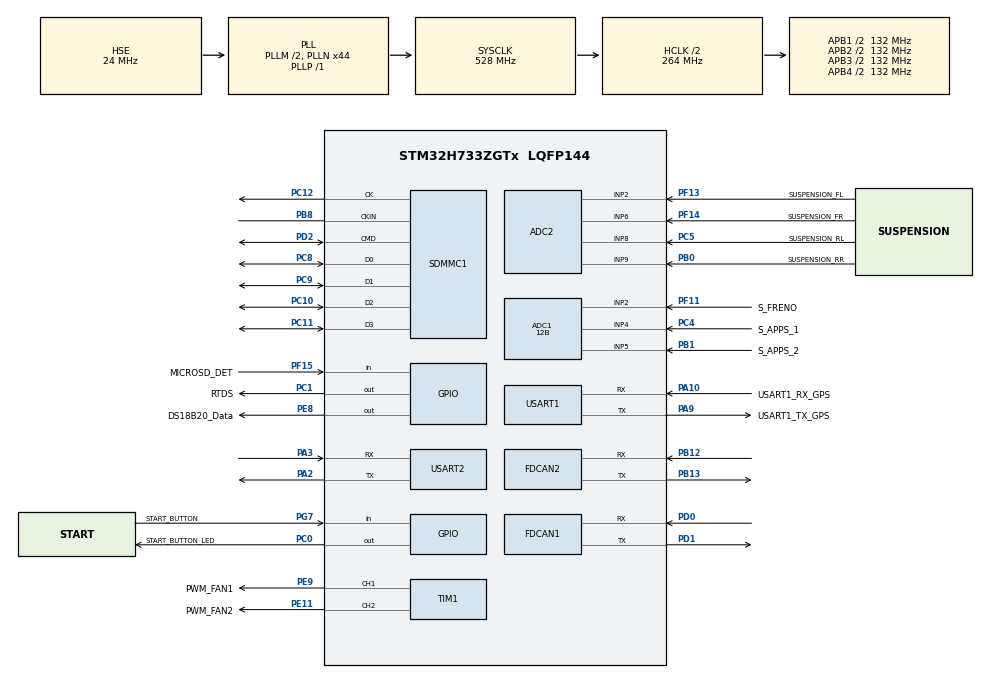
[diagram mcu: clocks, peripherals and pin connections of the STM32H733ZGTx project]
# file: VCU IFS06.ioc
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ADC1.Channel-2\#ChannelRegularConversion=ADC_CHANNEL_4
ADC1.Channel-3\#ChannelRegularConversion=ADC_CHANNEL_5
ADC1.Channel-4\#ChannelRegularConversion=ADC_CHANNEL_2
ADC1.ClockPrescaler=ADC_CLOCK_ASYNC_DIV2
ADC1.ContinuousConvMode=ENABLE
ADC1.ConversionDataManagement=ADC_CONVERSIONDATA_DMA_CIRCULAR
ADC1.EOCSelection=ADC_EOC_SEQ_CONV
ADC1.NbrOfConversion=3
ADC1.NbrOfConversionFlag=1
ADC1.OffsetNumber-3\#ChannelRegularConversion=ADC_OFFSET_NONE
ADC1.OffsetNumber-4\#ChannelRegularConversion=ADC_OFFSET_NONE
ADC1.OffsetSignedSaturation-2\#ChannelRegularConversion=DISABLE
ADC1.Rank-3\#ChannelRegularConversion=2
ADC1.Rank-4\#ChannelRegularConversion=3
ADC1.Resolution=ADC_RESOLUTION_12B
ADC1.SamplingTime-2\#ChannelRegularConversion=ADC_SAMPLETIME_64CYCLES_5
ADC1.SamplingTime-3\#ChannelRegularConversion=ADC_SAMPLETIME_64CYCLES_5
ADC1.SamplingTime-4\#ChannelRegularConversion=ADC_SAMPLETIME_64CYCLES_5
ADC1.master=1
ADC2.Channel-8\#ChannelRegularConversion=ADC_CHANNEL_9
ADC2.ClockPrescaler=ADC_CLOCK_ASYNC_DIV2
ADC2.NbrOfConversionFlag=1
ADC2.OffsetNumber-8\#ChannelRegularConversion=ADC_OFFSET_NONE
ADC2.OffsetSignedSaturation-8\#ChannelRegularConversion=DISABLE
ADC2.Rank-8\#ChannelRegularConversion=1
ADC2.SamplingTime-8\#ChannelRegularConversion=ADC_SAMPLETIME_1CYCLE_5
Dma.ADC1.0.Direction=DMA_PERIPH_TO_MEMORY
Dma.ADC1.0.EventEnable=DISABLE
Dma.ADC1.0.FIFOMode=DMA_FIFOMODE_DISABLE
Dma.ADC1.0.Instance=DMA1_Stream0
Dma.ADC1.0.MemDataAlignment=DMA_MDATAALIGN_HALFWORD
Dma.ADC1.0.MemInc=DMA_MINC_ENABLE
Dma.ADC1.0.Mode=DMA_CIRCULAR
Dma.ADC1.0.PeriphDataAlignment=DMA_PDATAALIGN_HALFWORD
Dma.ADC1.0.PeriphInc=DMA_PINC_DISABLE
Dma.ADC1.0.Polarity=HAL_DMAMUX_REQ_GEN_RISING
Dma.ADC1.0.Priority=DMA_PRIORITY_LOW
Dma.ADC1.0.RequestNumber=1
Dma.ADC1.0.SignalID=NONE
Dma.ADC1.0.SyncEnable=DISABLE
Dma.ADC1.0.SyncPolarity=HAL_DMAMUX_SYNC_NO_EVENT
Dma.ADC1.0.SyncRequestNumber=1
Dma.ADC1.0.SyncSignalID=NONE
Dma.Request0=ADC1
FATFS.BSP.number=1
FATFS.USE_DMA_CODE_SD=1
FATFS._FS_EXFAT=0
FATFS._MAX_SS=4096
FATFS._MULTI_PARTITION=1
FATFS._USE_LFN=1
FATFS0.BSP.STBoard=false
FATFS0.BSP.api=Unknown
FATFS0.BSP.instance=PF15
FATFS0.BSP.ip=GPIO
FATFS0.BSP.mode=Input
FATFS0.BSP.name=Detect_SDIO
FATFS0.BSP.solution=PF15
FDCAN1.CalculateBaudRateNominal=500000
FDCAN1.CalculateTimeBitNominal=2000
FDCAN1.CalculateTimeQuantumNominal=250.0
FDCAN1.ExtFiltersNbr=1
FDCAN1.NominalPrescaler=6
FDCAN1.NominalTimeSeg1=2
FDCAN1.NominalTimeSeg2=5
FDCAN1.RxBuffersNbr=0
FDCAN1.RxFifo0ElmtsNbr=32
FDCAN1.RxFifo1ElmtsNbr=32
FDCAN1.StdFiltersNbr=1
FDCAN1.TxBuffersNbr=0
FDCAN1.TxEventsNbr=0
FDCAN1.TxFifoQueueElmtsNbr=32
FDCAN2.CalculateBaudRateNominal=250000
FDCAN2.CalculateTimeBitNominal=4000
FDCAN2.CalculateTimeQuantumNominal=250.0
FDCAN2.ExtFiltersNbr=1
FDCAN2.FrameFormat=FDCAN_FRAME_CLASSIC
FDCAN2.NominalPrescaler=6
FDCAN2.NominalTimeSeg1=10
FDCAN2.NominalTimeSeg2=5
FDCAN2.RxBuffersNbr=0
FDCAN2.RxFifo0ElmtSize=FDCAN_DATA_BYTES_8
FDCAN2.RxFifo0ElmtsNbr=16
FDCAN2.RxFifo1ElmtsNbr=16
FDCAN2.StdFiltersNbr=1
FDCAN2.TxBuffersNbr=0
FDCAN2.TxEventsNbr=0
FDCAN2.TxFifoQueueElmtsNbr=16
Mcu.Family=STM32H7
Mcu.Name=STM32H733ZGTx
Mcu.Package=LQFP144
NVIC.ADC_IRQn=true\:0\:0\:false\:false\:true\:true\:true\:true
NVIC.DMA1_Stream0_IRQn=true\:0\:0\:false\:false\:true\:false\:true\:true
NVIC.FDCAN1_IT0_IRQn=true\:1\:0\:true\:false\:true\:true\:true\:true
NVIC.FDCAN2_IT0_IRQn=true\:2\:0\:true\:false\:true\:true\:true\:true
NVIC.PriorityGroup=NVIC_PRIORITYGROUP_4
NVIC.SDMMC1_IRQn=true\:0\:0\:false\:false\:true\:true\:true\:true
NVIC.TIM16_IRQn=true\:0\:0\:false\:false\:true\:true\:true\:true
PA10.GPIO_Label=USART1_RX_GPS
PA10.Mode=Asynchronous
PA10.Signal=USART1_RX
PA13(JTMS/SWDIO).Mode=Trace_Asynchronous_SW
PA13(JTMS/SWDIO).Signal=DEBUG_JTMS-SWDIO
PA14(JTCK/SWCLK).Mode=Trace_Asynchronous_SW
PA14(JTCK/SWCLK).Signal=DEBUG_JTCK-SWCLK
PA2.Mode=Asynchronous
PA2.Signal=USART2_TX
PA3.Mode=Asynchronous
PA3.Signal=USART2_RX
PA9.GPIO_Label=USART1_TX_GPS
PA9.Mode=Asynchronous
PA9.Signal=USART1_TX
PB0.GPIO_Label=SUSPENSION_RR
PB0.Signal=ADCx_INP9
PB1.GPIO_Label=S_APPS_2
PB1.GPIO_Mode=GPIO_MODE_ANALOG
PB1.GPIO_PuPd=GPIO_NOPULL
PB1.Signal=ADCx_INP5
PB12.Mode=FDCAN_Activate
PB12.Signal=FDCAN2_RX
PB13.Mode=FDCAN_Activate
PB13.Signal=FDCAN2_TX
PB3(JTDO/TRACESWO).Mode=Trace_Asynchronous_SW
PB3(JTDO/TRACESWO).Signal=DEBUG_JTDO-SWO
PB8.Mode=SD_4_bits_Wide_bus_auto_dir_voltage_converter
PB8.Signal=SDMMC1_CKIN
PC0.GPIO_Label=START_BUTTON_LED
PC0.Signal=GPIO_Output
PC1.GPIO_Label=RTDS
PC1.Signal=GPIO_Output
PC10.Mode=SD_4_bits_Wide_bus_auto_dir_voltage_converter
PC10.Signal=SDMMC1_D2
PC11.Mode=SD_4_bits_Wide_bus_auto_dir_voltage_converter
PC11.Signal=SDMMC1_D3
PC12.Mode=SD_4_bits_Wide_bus_auto_dir_voltage_converter
PC12.Signal=SDMMC1_CK
PC4.GPIO_Label=S_APPS_1
PC4.GPIO_Mode=GPIO_MODE_ANALOG
PC4.GPIO_PuPd=GPIO_NOPULL
PC4.Signal=ADCx_INP4
PC5.GPIO_Label=SUSPENSION_RL
PC5.Signal=ADCx_INP8
PC8.Mode=SD_4_bits_Wide_bus_auto_dir_voltage_converter
PC8.Signal=SDMMC1_D0
PC9.Mode=SD_4_bits_Wide_bus_auto_dir_voltage_converter
PC9.Signal=SDMMC1_D1
PD0.Mode=FDCAN_Activate
PD0.Signal=FDCAN1_RX
PD1.Mode=FDCAN_Activate
PD1.Signal=FDCAN1_TX
PD2.Mode=SD_4_bits_Wide_bus_auto_dir_voltage_converter
PD2.Signal=SDMMC1_CMD
PE11.GPIO_Label=PWM_FAN2
PE11.Signal=S_TIM1_CH2
PE8.GPIO_Label=DS18B20_Data
PE8.Signal=GPIO_Output
PE9.GPIO_Label=PWM_FAN1
PE9.Signal=S_TIM1_CH1
PF11.GPIO_Label=S_FRENO
PF11.GPIO_Mode=GPIO_MODE_ANALOG
PF11.GPIO_PuPd=GPIO_NOPULL
PF11.Mode=IN2-Single-Ended
PF11.Signal=ADC1_INP2
PF13.GPIO_Label=SUSPENSION_FL
PF13.Mode=IN2-Single-Ended
PF13.Signal=ADC2_INP2
PF14.GPIO_Label=SUSPENSION_FR
PF14.Mode=IN6-Single-Ended
PF14.Signal=ADC2_INP6
PF15.GPIO_Label=MICROSD_DET
PF15.Signal=GPIO_Input
PG10.Signal=FDCAN3_RX
PG7.GPIO_Label=START_BUTTON
PG7.Signal=GPIO_Input
PG9.Signal=FDCAN3_TX
PH0-OSC_IN.Mode=HSE-External-Oscillator
PH0-OSC_IN.Signal=RCC_OSC_IN
PH1-OSC_OUT.Mode=HSE-External-Oscillator
PH1-OSC_OUT.Signal=RCC_OSC_OUT
ProjectManager.HeapSize=0x200
ProjectManager.StackSize=0x400
ProjectManager.TargetToolchain=STM32CubeIDE
RCC.ADCCLockSelection=RCC_ADCCLKSOURCE_PLL2
RCC.ADCFreq_Value=96000000
RCC.APB1Freq_Value=132000000
RCC.APB2Freq_Value=132000000
RCC.APB3Freq_Value=132000000
RCC.APB4Freq_Value=132000000
RCC.CECCLockSelection=RCC_CECCLKSOURCE_LSI
RCC.CKPERSourceSelection=RCC_CLKPSOURCE_HSI
RCC.CSI_VALUE=4000000
RCC.CortexFreq_Value=528000000
RCC.Cortex_DivARG=SystemCoreClock/1000
RCC.D1PPRE=RCC_APB3_DIV2
RCC.D2PPRE1=RCC_APB1_DIV2
RCC.D2PPRE2=RCC_APB2_DIV2
RCC.D3PPRE=RCC_APB4_DIV2
RCC.DFSDMCLockSelection=RCC_DFSDM1CLKSOURCE_D2PCLK1
RCC.DIVM1=2
RCC.DIVM2=2
RCC.DIVN1=44
RCC.DIVN2=16
RCC.DIVP1=1
RCC.DIVQ1=4
RCC.DIVR2=1
RCC.EXTERNAL_CLOCK_VALUE=12288000
RCC.FDCANCLockSelection=RCC_FDCANCLKSOURCE_HSE
RCC.FMCCLockSelection=RCC_FMCCLKSOURCE_D1HCLK
RCC.HCLKFreq_Value=264000000
RCC.HPRE=RCC_HCLK_DIV2
RCC.HSE_VALUE=24000000
RCC.HSI48_VALUE=48000000
RCC.HSI_VALUE=64000000
RCC.I2C123CLockSelection=RCC_I2C1235CLKSOURCE_D2PCLK1
RCC.I2C4CLockSelection=RCC_I2C4CLKSOURCE_D3PCLK1
RCC.LPTIM1CLockSelection=RCC_LPTIM1CLKSOURCE_D2PCLK1
RCC.LPTIM2CLockSelection=RCC_LPTIM2CLKSOURCE_D3PCLK1
RCC.LPTIM345CLockSelection=RCC_LPTIM345CLKSOURCE_D3PCLK1
RCC.LPUART1CLockSelection=RCC_LPUART1CLKSOURCE_D3PCLK1
RCC.LSE_VALUE=32768
RCC.PLL2FRACN=0
RCC.PLL3FRACN=0
RCC.PLLFRACN=0
RCC.PLLSourceVirtual=RCC_PLLSOURCE_HSE
RCC.QSPICLockSelection=RCC_OSPICLKSOURCE_D1HCLK
RCC.RCC_MCO1Source=RCC_MCO1SOURCE_HSI
RCC.RCC_MCO2Source=RCC_MCO2SOURCE_SYSCLK
RCC.RNGCLockSelection=RCC_RNGCLKSOURCE_HSI48
RCC.SAI1CLockSelection=RCC_SAI1CLKSOURCE_PLL
RCC.SAI4ACLockSelection=RCC_SAI4ACLKSOURCE_PLL
RCC.SAI4BCLockSelection=RCC_SAI4BCLKSOURCE_PLL
RCC.SDMMC1CLockSelection=RCC_SDMMCCLKSOURCE_PLL2
RCC.SPDIFCLockSelection=RCC_SPDIFRXCLKSOURCE_PLL
RCC.SPI123CLockSelection=RCC_SPI123CLKSOURCE_PLL
RCC.SPI6CLockSelection=RCC_SPI6CLKSOURCE_D3PCLK1
RCC.SWPCLockSelection=RCC_SWPMI1CLKSOURCE_D2PCLK1
RCC.SYSCLKFreq_VALUE=528000000
RCC.SYSCLKSource=RCC_SYSCLKSOURCE_PLLCLK
RCC.Spi45ClockSelection=RCC_SPI45CLKSOURCE_D2PCLK1
RCC.USART16CLockSelection=RCC_USART16910CLKSOURCE_D2PCLK2
RCC.USART234578CLockSelection=RCC_USART234578CLKSOURCE_D2PCLK1
RCC.USBCLockSelection=RCC_USBCLKSOURCE_PLL
RCC.USBFreq_Value=132000000
SDMMC1.ClockDiv=2
SDMMC1.HardwareFlowControl=SDMMC_HARDWARE_FLOW_CONTROL_DISABLE
SDMMC1.TransceiverPresent=SDMMC_TRANSCEIVER_NOT_PRESENT
SH.ADCx_INP4.0=ADC1_INP4,IN4-Single-Ended
SH.ADCx_INP5.0=ADC1_INP5,IN5-Single-Ended
SH.ADCx_INP8.0=ADC1_INP8
SH.ADCx_INP8.1=ADC2_INP8,IN8-Single-Ended
SH.ADCx_INP9.0=ADC2_INP9,IN9-Single-Ended
SH.ADCx_INP9.1=ADC1_INP9
SH.S_TIM1_CH1.0=TIM1_CH1,PWM Generation1 CH1
SH.S_TIM1_CH2.0=TIM1_CH2,PWM Generation2 CH2
TIM1.AutoReloadPreload=TIM_AUTORELOAD_PRELOAD_ENABLE
TIM1.Channel-PWM\ Generation1\ CH1=TIM_CHANNEL_1
TIM1.Channel-PWM\ Generation2\ CH2=TIM_CHANNEL_2
TIM16.Period=10000 - 1
TIM16.Prescaler=528
USART1.VirtualMode-Asynchronous=VM_ASYNC
USART2.VirtualMode-Asynchronous=VM_ASYNC
VP_FATFS_VS_SDIO.Mode=SDIO
VP_MEMORYMAP_VS_MEMORYMAP.Mode=CurAppReg
VP_TIM16_VS_ClockSourceINT.Mode=Enable_Timer
VP_TIM1_VS_ClockSourceINT.Mode=Internal
board=custom

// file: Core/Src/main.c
/* USER CODE BEGIN Header */
/**
 ******************************************************************************
 * @file           : main.c
 * @brief          : Main program body
 ******************************************************************************
 * @attention
 *
 * Copyright (c) 2024 STMicroelectronics.
 * All rights reserved.
 *
 * This software is licensed under terms that can be found in the LICENSE file
 * in the root directory of this software component.
 * If no LICENSE file comes with this software, it is provided AS-IS.
 *
 ******************************************************************************
 */
/* USER CODE END Header */
#include "main.h"
#include "fatfs.h"

/* USER CODE BEGIN Includes */
#include <stdio.h>
#include <string.h>
#include <stdlib.h>
#include "VCU.h"
#include "LPF.h"
/* USER CODE END Includes */

ADC_HandleTypeDef hadc1;
ADC_HandleTypeDef hadc2;
DMA_HandleTypeDef hdma_adc1;

FDCAN_HandleTypeDef hfdcan1;
FDCAN_HandleTypeDef hfdcan2;

SD_HandleTypeDef hsd1;

TIM_HandleTypeDef htim1;
TIM_HandleTypeDef htim16;

UART_HandleTypeDef huart1;
UART_HandleTypeDef huart2;

void SystemClock_Config(void);
void PeriphCommonClock_Config(void);
static void MX_GPIO_Init(void);
static void MX_DMA_Init(void);
static void MX_ADC1_Init(void);
static void MX_ADC2_Init(void);
static void MX_FDCAN1_Init(void);
static void MX_FDCAN2_Init(void);
static void MX_TIM1_Init(void);
static void MX_USART2_UART_Init(void);
static void MX_TIM16_Init(void);
static void MX_USART1_UART_Init(void);
static void MX_SDMMC1_SD_Init(void);

/* USER CODE BEGIN 0 */

// ---------- MODOS DEBUG ----------
#define DEBUG 1
#define CALIBRATION 0

// ---------- FILTROS LECTURA PEDAL ACELERADOR --------
uint32_t lecturas_s1[N_LECTURAS] = { 0 };
uint32_t lecturas_s2[N_LECTURAS] = { 0 };
uint8_t index_s1 = 0, index_s2 = 0;

// ---------- VARIABLES DEL CAN ----------
FDCAN_TxHeaderTypeDef TxHeader_Inv;
FDCAN_RxHeaderTypeDef RxHeader_Inv;
FDCAN_TxHeaderTypeDef TxHeader_Acu;
FDCAN_RxHeaderTypeDef RxHeader_Acu;

uint8_t TxData_Inv[8];
uint8_t RxData_Inv[8];
uint8_t TxData_Acu[8];
uint8_t RxData_Acu[8];

// Datos a recibir del inversor
INT32U datos_inversor[N_DATOS_INV] = { T_MOTOR, T_IGBT, T_AIR, N_ACTUAL,
I_ACTUAL };

// Datalogger MicroSD
FATFS FatFs; //Filesystem
#define LOG_BUFFER_SIZE 512
char logBuffer1[LOG_BUFFER_SIZE];
char logBuffer2[LOG_BUFFER_SIZE];
uint16_t bufferIndex = 0;
char *activeBuffer = logBuffer1;
char *writeBuffer = NULL;
uint8_t bufferReady = 0;

// Detector de flanco botón de arranque
int start_button_act;
int start_button_ant = 0; //1

// ---------- VARIABLES DE LECTURA DE SENSORES ----------

// Inversor
int inv_dc_bus_voltage = 0; // Lectura de tensión DC bus (V)
int inv_dc_bus_power = 0; // Lectura de potencia DC bus (W)
int e_machine_rpm = 0;	//Lectura RPMs motor
int inv_t_motor;        // Lectura de motor temperature
int inv_t_igbt;         // Lectura de power stage temperature
int inv_t_air;          // Lectura de air temperature
int inv_n_actual;       // Lectura de speed actual value

// Sensores
uint16_t buffer_adc[3]; //Buffer para DMA
int s1_aceleracion = 0; // Lectura del sensor 1 del pedal de aceleración
int s2_aceleracion = 0; // Lectura del sensor 2 del pedal de aceleración
int s1_aceleracion_aux = 0;
int s2_aceleracion_aux = 0;
LPF_EMA s1_filt, s2_filt;
int s_freno; // Lectura del sensor de freno
float s_freno_aux;
int sdd_suspension; // Lectura del sensor delantero derecho de suspensión
int sdi_suspension; // Lectura del sensor delantero izquierdo de suspensión
float aux_velocidad;
float v_celda_min = 3600; // Contiene el ultimo valor de tension minima de una celda enviada por el AMS.

// ---------- VARIABLES DE CONTROL DEL INVERSOR ----------
int porcentaje_pedal_acel;
uint16_t torque_total = 0;
uint8_t byte_torque_1 = 0;
uint8_t byte_torque_2 = 0;
int torque_limitado;
uint16_t real_torque = 0;
int media_s_acel = 0;
uint8_t state = 0;
uint8_t byte0_voltage = 0;
uint8_t byte1_voltage = 0;
uint8_t byte0_power = 0;
uint8_t byte1_power = 0;
uint32_t last_time_t_11_8 = 0;

// Revisar normativa
int flag_EV_2_3 = 0;
int flag_T11_8_9 = 0;
int count_T11_8_9 = 0;

char uart_msg[100];
char TxBuffer[250];
uint8_t error = 0;

void print(char uart_buffer[]);
void printValue(int value);
void printHex(uint8_t value);

uint16_t setTorque(void);
int SMA(uint32_t *lecturas, uint8_t *index, uint32_t lectura);

uint8_t flag_react = 0;
uint8_t flag_undervoltage = 0;
uint8_t rtds_count = 0;

int acelera = 1;
int frena = 0;

void SDCard_start(void);
void logBufferToSD(void);
void addDataToLogBuffer(char *data, uint16_t length);
void processLogging(void);
void SDCard_write(char *filename, char *data);
void CAN_bus_off_check_reset(FDCAN_HandleTypeDef *hfdcan);
/* USER CODE END 0 */

int main(void)
{

  /* MCU Configuration--------------------------------------------------------*/

  /* Reset of all peripherals, Initializes the Flash interface and the Systick. */
  HAL_Init();

  /* Configure the system clock */
  SystemClock_Config();

  /* Configure the peripherals common clocks */
  PeriphCommonClock_Config();

  /* Initialize all configured peripherals */
  MX_GPIO_Init();
  MX_DMA_Init();
  MX_ADC1_Init();
  MX_ADC2_Init();
  MX_FDCAN1_Init();
  MX_FDCAN2_Init();
  MX_TIM1_Init();
  MX_USART2_UART_Init();
  MX_TIM16_Init();
  MX_USART1_UART_Init();
  MX_SDMMC1_SD_Init();
  MX_FATFS_Init();
  /* USER CODE BEGIN 2 */
	//Inicializar tarjeta microSD
	SDCard_start();
	HAL_Delay(2000);

	//HAL_ADCEx_Calibration_Start(&hadc1, ADC_CALIB_OFFSET, ADC_SINGLE_ENDED);
	if (HAL_ADC_Start_DMA(&hadc1, (uint32_t*) buffer_adc, 3) != HAL_OK) {
#if DEBUG
		print("Error al inicializar ADC_DMA");
#endif
		Error_Handler();
	}
	//Inicializacion filtro paso bajo
	LPF_EMA_Init(&s1_filt, 0.2f);
	LPF_EMA_Init(&s2_filt, 0.2f);

	//Inicialización de buses CAN
	//Inversor
	if (HAL_FDCAN_Start(&hfdcan1) != HAL_OK) {
#if DEBUG
		print("Error al inicializar CAN_INV");
#endif
		Error_Handler();
	}

	if (HAL_FDCAN_ActivateNotification(&hfdcan1, FDCAN_IT_RX_FIFO0_NEW_MESSAGE,
			0) != HAL_OK) {

#if DEBUG
		print("Error al activar NOTIFICACION CAN_INV");
#endif
		Error_Handler();

	}

    /*if(HAL_FDCAN_ActivateNotification(&hfdcan1, FDCAN_IT_BUS_OFF, 0) != HAL_OK){
#if DEBUG
		print("Error al activar NOTIFICACION BUS OFF CAN_INV");
#endif
		Error_Handler();
    }*/

	//Acumulador
	if (HAL_FDCAN_Start(&hfdcan2) != HAL_OK) {

#if DEBUG
		print("Error al inicializar CAN_ACU");

#endif
		Error_Handler();
	}

	if (HAL_FDCAN_ActivateNotification(&hfdcan2, FDCAN_IT_RX_FIFO0_NEW_MESSAGE,
			0) != HAL_OK) {

#if DEBUG
		print("Error al activar NOTIFICATION CAN_ACU");
#endif
		Error_Handler();
	}

	//---------- SECUENCIA DE ARRANQUE ----------
#if(DEBUG)
	print("Solicitar tensión inversor");
#endif
	//Espera ACK inversor (DC bus)
	while (config_inv_lectura_v == 0) {

		if (config_inv_lectura_v == 1) {

#if DEBUG
			print("CAN_INV: Lectura de DC_BUS_VOLTAGE correctamente");
#endif
		}
	}

#if !CALIBRATION

	//Estado STAND BY inversor
	while (state != 3) {

		if (state == 3) {
#if DEBUG
			print("Precarga");
#endif
		}
	}
	//PRE-CHARGE
	while (precarga_inv == 0) {

#if DEBUG
		sprintf(TxBuffer, "DC_BUS_VOLTAGE: %i V\r\n", inv_dc_bus_voltage);
		print(TxBuffer);
		//printValue((int) ((byte1_voltage << 8) | byte0_voltage));
#endif

		//Reenvío DC_BUS_VOLTAGE al AMS por CAN_ACU
		TxHeader_Acu.Identifier = ID_dc_bus_voltage;
		TxHeader_Acu.DataLength = 2;
		TxHeader_Acu.IdType = FDCAN_EXTENDED_ID;
		TxHeader_Acu.FDFormat = FDCAN_CLASSIC_CAN;
		TxHeader_Acu.TxFrameType = FDCAN_DATA_FRAME;

		/*		TxData_Acu[0] = byte0_voltage;
		 TxData_Acu[1] = byte1_voltage;*/
		TxData_Acu[0] = inv_dc_bus_voltage & 0xFF;
		TxData_Acu[1] = (inv_dc_bus_voltage >> 8) & 0xFF;
		if (HAL_FDCAN_AddMessageToTxFifoQ(&hfdcan2, &TxHeader_Acu, TxData_Acu)
				== HAL_OK) {
#if DEBUG
			print("CAN_ACU: DC_BUS_VOLTAGE enviado a AMS");
#endif
		}

		if (precarga_inv == 1) {
#if DEBUG
			print("CAN_ACU: Precarga correcta");
#endif
		}

	}

#if DEBUG
	print("state : stand by");
#endif
	//Estado READY inversor
	TxHeader_Inv.Identifier = RX_SETPOINT_1;
	TxHeader_Inv.DataLength = 3;
	TxHeader_Inv.IdType = FDCAN_STANDARD_ID;

	TxData_Inv[0] = 0x0;
	TxData_Inv[1] = 0x0;
	TxData_Inv[2] = 0x4;
	HAL_FDCAN_AddMessageToTxFifoQ(&hfdcan1, &TxHeader_Inv, TxData_Inv);

	while (state != 4) {

	}

#if DEBUG
	print("state: ready");
#endif

#endif

#if !CALIBRATION
	//Espera a que se pulse el botón de arranque mientras se pisa el freno
	while (boton_arranque == 0) {

		start_button_act = HAL_GPIO_ReadPin(START_BUTTON_GPIO_Port,
		START_BUTTON_Pin);
		if (start_button_act == 1 && start_button_ant == 0) {

#if DEBUG
			print("Botón Start + Freno:");
			printValue(s_freno);
#endif
			if (s_freno > UMBRAL_FRENO) {
				boton_arranque = 1;
#if DEBUG
				print("Coche arrancado correctamente");
#endif
			} else {
#if DEBUG
				print("Pulsar freno para arrancar");
#endif
			}
		}
	}
#endif

	// Activar READY-TO-DRIVE-SOUND (RTDS) durante 2s
#if DEBUG
	print("RTDS sonando");
#endif
#if !CALIBRATION

	HAL_GPIO_WritePin(RTDS_GPIO_Port, RTDS_Pin, GPIO_PIN_SET); //Enciende RTDS
	HAL_Delay(2000);
	HAL_GPIO_WritePin(RTDS_GPIO_Port, RTDS_Pin, GPIO_PIN_RESET); //Apaga RTDS

#endif

#if DEBUG
	print("RTDS apagado");
#endif

	// Avisar a resto de ECUs de que pueden comenzar ya a mandar datos al CAN (RTD_all)
	// Inicia telemetria y activa los ventiladores
	/*TxHeader_Acu.Identifier = ID_RTD_all;
	 TxHeader_Acu.DataLength = 1;
	 TxData_Acu[0] = 1;
	 HAL_FDCAN_AddMessageToTxFifoQ(&hfdcan2, &TxHeader_Acu, TxData_Acu);*/

	/*
	 * TIM16 -> APB2 => 264MHzw
	 * 10 ms interruption => 10ms * 264MHz = 2640000
	 * prescalado 264 (por ejemplo)
	 * timer count = 2640000 / 264 = 10000
	 */
	HAL_TIM_Base_Start_IT(&htim16);

  /* USER CODE END 2 */

  /* Infinite loop */
  /* USER CODE BEGIN WHILE */
	while (1) {

		// Envío datos telemetría
    /* USER CODE END WHILE */

	}
}

void SystemClock_Config(void)
{
  RCC_OscInitTypeDef RCC_OscInitStruct = {0};
  RCC_ClkInitTypeDef RCC_ClkInitStruct = {0};

  /** Supply configuration update enable
  */
  HAL_PWREx_ConfigSupply(PWR_LDO_SUPPLY);

  /** Configure the main internal regulator output voltage
  */
  __HAL_PWR_VOLTAGESCALING_CONFIG(PWR_REGULATOR_VOLTAGE_SCALE0);

  while(!__HAL_PWR_GET_FLAG(PWR_FLAG_VOSRDY)) {}

  /** Initializes the RCC Oscillators according to the specified parameters
  * in the RCC_OscInitTypeDef structure.
  */
  RCC_OscInitStruct.OscillatorType = RCC_OSCILLATORTYPE_HSE;
  RCC_OscInitStruct.HSEState = RCC_HSE_ON;
  RCC_OscInitStruct.PLL.PLLState = RCC_PLL_ON;
  RCC_OscInitStruct.PLL.PLLSource = RCC_PLLSOURCE_HSE;
  RCC_OscInitStruct.PLL.PLLM = 2;
  RCC_OscInitStruct.PLL.PLLN = 44;
  RCC_OscInitStruct.PLL.PLLP = 1;
  RCC_OscInitStruct.PLL.PLLQ = 4;
  RCC_OscInitStruct.PLL.PLLR = 2;
  RCC_OscInitStruct.PLL.PLLRGE = RCC_PLL1VCIRANGE_3;
  RCC_OscInitStruct.PLL.PLLVCOSEL = RCC_PLL1VCOWIDE;
  RCC_OscInitStruct.PLL.PLLFRACN = 0;
  if (HAL_RCC_OscConfig(&RCC_OscInitStruct) != HAL_OK)
  {
    Error_Handler();
  }

  /** Initializes the CPU, AHB and APB buses clocks
  */
  RCC_ClkInitStruct.ClockType = RCC_CLOCKTYPE_HCLK|RCC_CLOCKTYPE_SYSCLK
                              |RCC_CLOCKTYPE_PCLK1|RCC_CLOCKTYPE_PCLK2
                              |RCC_CLOCKTYPE_D3PCLK1|RCC_CLOCKTYPE_D1PCLK1;
  RCC_ClkInitStruct.SYSCLKSource = RCC_SYSCLKSOURCE_PLLCLK;
  RCC_ClkInitStruct.SYSCLKDivider = RCC_SYSCLK_DIV1;
  RCC_ClkInitStruct.AHBCLKDivider = RCC_HCLK_DIV2;
  RCC_ClkInitStruct.APB3CLKDivider = RCC_APB3_DIV2;
  RCC_ClkInitStruct.APB1CLKDivider = RCC_APB1_DIV2;
  RCC_ClkInitStruct.APB2CLKDivider = RCC_APB2_DIV2;
  RCC_ClkInitStruct.APB4CLKDivider = RCC_APB4_DIV2;

  if (HAL_RCC_ClockConfig(&RCC_ClkInitStruct, FLASH_LATENCY_3) != HAL_OK)
  {
    Error_Handler();
  }
}

void PeriphCommonClock_Config(void)
{
  RCC_PeriphCLKInitTypeDef PeriphClkInitStruct = {0};

  /** Initializes the peripherals clock
  */
  PeriphClkInitStruct.PeriphClockSelection = RCC_PERIPHCLK_ADC|RCC_PERIPHCLK_SDMMC;
  PeriphClkInitStruct.PLL2.PLL2M = 2;
  PeriphClkInitStruct.PLL2.PLL2N = 16;
  PeriphClkInitStruct.PLL2.PLL2P = 2;
  PeriphClkInitStruct.PLL2.PLL2Q = 2;
  PeriphClkInitStruct.PLL2.PLL2R = 1;
  PeriphClkInitStruct.PLL2.PLL2RGE = RCC_PLL2VCIRANGE_3;
  PeriphClkInitStruct.PLL2.PLL2VCOSEL = RCC_PLL2VCOWIDE;
  PeriphClkInitStruct.PLL2.PLL2FRACN = 0;
  PeriphClkInitStruct.SdmmcClockSelection = RCC_SDMMCCLKSOURCE_PLL2;
  PeriphClkInitStruct.AdcClockSelection = RCC_ADCCLKSOURCE_PLL2;
  if (HAL_RCCEx_PeriphCLKConfig(&PeriphClkInitStruct) != HAL_OK)
  {
    Error_Handler();
  }
}

static void MX_ADC1_Init(void)
{

  ADC_MultiModeTypeDef multimode = {0};
  ADC_ChannelConfTypeDef sConfig = {0};

  /** Common config
  */
  hadc1.Instance = ADC1;
  hadc1.Init.ClockPrescaler = ADC_CLOCK_ASYNC_DIV2;
  hadc1.Init.Resolution = ADC_RESOLUTION_12B;
  hadc1.Init.ScanConvMode = ADC_SCAN_ENABLE;
  hadc1.Init.EOCSelection = ADC_EOC_SEQ_CONV;
  hadc1.Init.LowPowerAutoWait = DISABLE;
  hadc1.Init.ContinuousConvMode = ENABLE;
  hadc1.Init.NbrOfConversion = 3;
  hadc1.Init.DiscontinuousConvMode = DISABLE;
  hadc1.Init.ExternalTrigConv = ADC_SOFTWARE_START;
  hadc1.Init.ExternalTrigConvEdge = ADC_EXTERNALTRIGCONVEDGE_NONE;
  hadc1.Init.ConversionDataManagement = ADC_CONVERSIONDATA_DMA_CIRCULAR;
  hadc1.Init.Overrun = ADC_OVR_DATA_PRESERVED;
  hadc1.Init.LeftBitShift = ADC_LEFTBITSHIFT_NONE;
  hadc1.Init.OversamplingMode = DISABLE;
  hadc1.Init.Oversampling.Ratio = 1;
  if (HAL_ADC_Init(&hadc1) != HAL_OK)
  {
    Error_Handler();
  }

  /** Configure the ADC multi-mode
  */
  multimode.Mode = ADC_MODE_INDEPENDENT;
  if (HAL_ADCEx_MultiModeConfigChannel(&hadc1, &multimode) != HAL_OK)
  {
    Error_Handler();
  }

  /** Configure Regular Channel
  */
  sConfig.Channel = ADC_CHANNEL_4;
  sConfig.Rank = ADC_REGULAR_RANK_1;
  sConfig.SamplingTime = ADC_SAMPLETIME_64CYCLES_5;
  sConfig.SingleDiff = ADC_SINGLE_ENDED;
  sConfig.OffsetNumber = ADC_OFFSET_NONE;
  sConfig.Offset = 0;
  sConfig.OffsetSignedSaturation = DISABLE;
  if (HAL_ADC_ConfigChannel(&hadc1, &sConfig) != HAL_OK)
  {
    Error_Handler();
  }

  /** Configure Regular Channel
  */
  sConfig.Channel = ADC_CHANNEL_5;
  sConfig.Rank = ADC_REGULAR_RANK_2;
  if (HAL_ADC_ConfigChannel(&hadc1, &sConfig) != HAL_OK)
  {
    Error_Handler();
  }

  /** Configure Regular Channel
  */
  sConfig.Channel = ADC_CHANNEL_2;
  sConfig.Rank = ADC_REGULAR_RANK_3;
  if (HAL_ADC_ConfigChannel(&hadc1, &sConfig) != HAL_OK)
  {
    Error_Handler();
  }

}

static void MX_ADC2_Init(void)
{

  ADC_ChannelConfTypeDef sConfig = {0};

  /** Common config
  */
  hadc2.Instance = ADC2;
  hadc2.Init.ClockPrescaler = ADC_CLOCK_ASYNC_DIV2;
  hadc2.Init.Resolution = ADC_RESOLUTION_16B;
  hadc2.Init.ScanConvMode = ADC_SCAN_DISABLE;
  hadc2.Init.EOCSelection = ADC_EOC_SINGLE_CONV;
  hadc2.Init.LowPowerAutoWait = DISABLE;
  hadc2.Init.ContinuousConvMode = DISABLE;
  hadc2.Init.NbrOfConversion = 1;
  hadc2.Init.DiscontinuousConvMode = DISABLE;
  hadc2.Init.ExternalTrigConv = ADC_SOFTWARE_START;
  hadc2.Init.ExternalTrigConvEdge = ADC_EXTERNALTRIGCONVEDGE_NONE;
  hadc2.Init.ConversionDataManagement = ADC_CONVERSIONDATA_DR;
  hadc2.Init.Overrun = ADC_OVR_DATA_PRESERVED;
  hadc2.Init.LeftBitShift = ADC_LEFTBITSHIFT_NONE;
  hadc2.Init.OversamplingMode = DISABLE;
  hadc2.Init.Oversampling.Ratio = 1;
  if (HAL_ADC_Init(&hadc2) != HAL_OK)
  {
    Error_Handler();
  }

  /** Configure Regular Channel
  */
  sConfig.Channel = ADC_CHANNEL_9;
  sConfig.Rank = ADC_REGULAR_RANK_1;
  sConfig.SamplingTime = ADC_SAMPLETIME_1CYCLE_5;
  sConfig.SingleDiff = ADC_SINGLE_ENDED;
  sConfig.OffsetNumber = ADC_OFFSET_NONE;
  sConfig.Offset = 0;
  sConfig.OffsetSignedSaturation = DISABLE;
  if (HAL_ADC_ConfigChannel(&hadc2, &sConfig) != HAL_OK)
  {
    Error_Handler();
  }

}

static void MX_FDCAN1_Init(void)
{

  hfdcan1.Instance = FDCAN1;
  hfdcan1.Init.FrameFormat = FDCAN_FRAME_CLASSIC;
  hfdcan1.Init.Mode = FDCAN_MODE_NORMAL;
  hfdcan1.Init.AutoRetransmission = ENABLE;
  hfdcan1.Init.TransmitPause = DISABLE;
  hfdcan1.Init.ProtocolException = DISABLE;
  hfdcan1.Init.NominalPrescaler = 6;
  hfdcan1.Init.NominalSyncJumpWidth = 1;
  hfdcan1.Init.NominalTimeSeg1 = 2;
  hfdcan1.Init.NominalTimeSeg2 = 5;
  hfdcan1.Init.DataPrescaler = 1;
  hfdcan1.Init.DataSyncJumpWidth = 1;
  hfdcan1.Init.DataTimeSeg1 = 1;
  hfdcan1.Init.DataTimeSeg2 = 1;
  hfdcan1.Init.MessageRAMOffset = 0;
  hfdcan1.Init.StdFiltersNbr = 1;
  hfdcan1.Init.ExtFiltersNbr = 1;
  hfdcan1.Init.RxFifo0ElmtsNbr = 32;
  hfdcan1.Init.RxFifo0ElmtSize = FDCAN_DATA_BYTES_8;
  hfdcan1.Init.RxFifo1ElmtsNbr = 32;
  hfdcan1.Init.RxFifo1ElmtSize = FDCAN_DATA_BYTES_8;
  hfdcan1.Init.RxBuffersNbr = 0;
  hfdcan1.Init.RxBufferSize = FDCAN_DATA_BYTES_8;
  hfdcan1.Init.TxEventsNbr = 0;
  hfdcan1.Init.TxBuffersNbr = 0;
  hfdcan1.Init.TxFifoQueueElmtsNbr = 32;
  hfdcan1.Init.TxFifoQueueMode = FDCAN_TX_FIFO_OPERATION;
  hfdcan1.Init.TxElmtSize = FDCAN_DATA_BYTES_8;
  if (HAL_FDCAN_Init(&hfdcan1) != HAL_OK)
  {
    Error_Handler();
  }
  /* USER CODE BEGIN FDCAN1_Init 2 */
	FDCAN_FilterTypeDef sFilterConfig;
	sFilterConfig.IdType = FDCAN_STANDARD_ID;
	sFilterConfig.FilterIndex = 0;
	sFilterConfig.FilterType = FDCAN_FILTER_MASK;
	sFilterConfig.FilterConfig = FDCAN_FILTER_TO_RXFIFO0;
	sFilterConfig.FilterID1 = 0x0;
	sFilterConfig.FilterID2 = 0x0;
	if (HAL_FDCAN_ConfigFilter(&hfdcan1, &sFilterConfig) != HAL_OK) {
		Error_Handler();
	}
  /* USER CODE END FDCAN1_Init 2 */

}

static void MX_FDCAN2_Init(void)
{

  hfdcan2.Instance = FDCAN2;
  hfdcan2.Init.FrameFormat = FDCAN_FRAME_CLASSIC;
  hfdcan2.Init.Mode = FDCAN_MODE_NORMAL;
  hfdcan2.Init.AutoRetransmission = DISABLE;
  hfdcan2.Init.TransmitPause = DISABLE;
  hfdcan2.Init.ProtocolException = DISABLE;
  hfdcan2.Init.NominalPrescaler = 6;
  hfdcan2.Init.NominalSyncJumpWidth = 1;
  hfdcan2.Init.NominalTimeSeg1 = 10;
  hfdcan2.Init.NominalTimeSeg2 = 5;
  hfdcan2.Init.DataPrescaler = 1;
  hfdcan2.Init.DataSyncJumpWidth = 1;
  hfdcan2.Init.DataTimeSeg1 = 1;
  hfdcan2.Init.DataTimeSeg2 = 1;
  hfdcan2.Init.MessageRAMOffset = 0;
  hfdcan2.Init.StdFiltersNbr = 1;
  hfdcan2.Init.ExtFiltersNbr = 1;
  hfdcan2.Init.RxFifo0ElmtsNbr = 16;
  hfdcan2.Init.RxFifo0ElmtSize = FDCAN_DATA_BYTES_8;
  hfdcan2.Init.RxFifo1ElmtsNbr = 16;
  hfdcan2.Init.RxFifo1ElmtSize = FDCAN_DATA_BYTES_8;
  hfdcan2.Init.RxBuffersNbr = 0;
  hfdcan2.Init.RxBufferSize = FDCAN_DATA_BYTES_8;
  hfdcan2.Init.TxEventsNbr = 0;
  hfdcan2.Init.TxBuffersNbr = 0;
  hfdcan2.Init.TxFifoQueueElmtsNbr = 16;
  hfdcan2.Init.TxFifoQueueMode = FDCAN_TX_FIFO_OPERATION;
  hfdcan2.Init.TxElmtSize = FDCAN_DATA_BYTES_8;
  if (HAL_FDCAN_Init(&hfdcan2) != HAL_OK)
  {
    Error_Handler();
  }
  /* USER CODE BEGIN FDCAN2_Init 2 */
	FDCAN_FilterTypeDef sFilterConfig;
	sFilterConfig.IdType = FDCAN_EXTENDED_ID;
	sFilterConfig.FilterIndex = 0;
	sFilterConfig.FilterType = FDCAN_FILTER_MASK;
	sFilterConfig.FilterConfig = FDCAN_FILTER_TO_RXFIFO0;
	sFilterConfig.FilterID1 = 0x0;
	sFilterConfig.FilterID2 = 0x0;
	if (HAL_FDCAN_ConfigFilter(&hfdcan2, &sFilterConfig) != HAL_OK) {
		Error_Handler();
	}
  /* USER CODE END FDCAN2_Init 2 */

}

static void MX_SDMMC1_SD_Init(void)
{

  hsd1.Instance = SDMMC1;
  hsd1.Init.ClockEdge = SDMMC_CLOCK_EDGE_RISING;
  hsd1.Init.ClockPowerSave = SDMMC_CLOCK_POWER_SAVE_DISABLE;
  hsd1.Init.BusWide = SDMMC_BUS_WIDE_4B;
  hsd1.Init.HardwareFlowControl = SDMMC_HARDWARE_FLOW_CONTROL_DISABLE;
  hsd1.Init.ClockDiv = 2;

}

static void MX_TIM1_Init(void)
{

  TIM_ClockConfigTypeDef sClockSourceConfig = {0};
  TIM_MasterConfigTypeDef sMasterConfig = {0};
  TIM_OC_InitTypeDef sConfigOC = {0};
  TIM_BreakDeadTimeConfigTypeDef sBreakDeadTimeConfig = {0};

  htim1.Instance = TIM1;
  htim1.Init.Prescaler = 0;
  htim1.Init.CounterMode = TIM_COUNTERMODE_UP;
  htim1.Init.Period = 65535;
  htim1.Init.ClockDivision = TIM_CLOCKDIVISION_DIV1;
  htim1.Init.RepetitionCounter = 0;
  htim1.Init.AutoReloadPreload = TIM_AUTORELOAD_PRELOAD_ENABLE;
  if (HAL_TIM_Base_Init(&htim1) != HAL_OK)
  {
    Error_Handler();
  }
  sClockSourceConfig.ClockSource = TIM_CLOCKSOURCE_INTERNAL;
  if (HAL_TIM_ConfigClockSource(&htim1, &sClockSourceConfig) != HAL_OK)
  {
    Error_Handler();
  }
  if (HAL_TIM_PWM_Init(&htim1) != HAL_OK)
  {
    Error_Handler();
  }
  sMasterConfig.MasterOutputTrigger = TIM_TRGO_RESET;
  sMasterConfig.MasterOutputTrigger2 = TIM_TRGO2_RESET;
  sMasterConfig.MasterSlaveMode = TIM_MASTERSLAVEMODE_DISABLE;
  if (HAL_TIMEx_MasterConfigSynchronization(&htim1, &sMasterConfig) != HAL_OK)
  {
    Error_Handler();
  }
  sConfigOC.OCMode = TIM_OCMODE_PWM1;
  sConfigOC.Pulse = 0;
  sConfigOC.OCPolarity = TIM_OCPOLARITY_HIGH;
  sConfigOC.OCNPolarity = TIM_OCNPOLARITY_HIGH;
  sConfigOC.OCFastMode = TIM_OCFAST_DISABLE;
  sConfigOC.OCIdleState = TIM_OCIDLESTATE_RESET;
  sConfigOC.OCNIdleState = TIM_OCNIDLESTATE_RESET;
  if (HAL_TIM_PWM_ConfigChannel(&htim1, &sConfigOC, TIM_CHANNEL_1) != HAL_OK)
  {
    Error_Handler();
  }
  if (HAL_TIM_PWM_ConfigChannel(&htim1, &sConfigOC, TIM_CHANNEL_2) != HAL_OK)
  {
    Error_Handler();
  }
  sBreakDeadTimeConfig.OffStateRunMode = TIM_OSSR_DISABLE;
  sBreakDeadTimeConfig.OffStateIDLEMode = TIM_OSSI_DISABLE;
  sBreakDeadTimeConfig.LockLevel = TIM_LOCKLEVEL_OFF;
  sBreakDeadTimeConfig.DeadTime = 0;
  sBreakDeadTimeConfig.BreakState = TIM_BREAK_DISABLE;
  sBreakDeadTimeConfig.BreakPolarity = TIM_BREAKPOLARITY_HIGH;
  sBreakDeadTimeConfig.BreakFilter = 0;
  sBreakDeadTimeConfig.Break2State = TIM_BREAK2_DISABLE;
  sBreakDeadTimeConfig.Break2Polarity = TIM_BREAK2POLARITY_HIGH;
  sBreakDeadTimeConfig.Break2Filter = 0;
  sBreakDeadTimeConfig.AutomaticOutput = TIM_AUTOMATICOUTPUT_DISABLE;
  if (HAL_TIMEx_ConfigBreakDeadTime(&htim1, &sBreakDeadTimeConfig) != HAL_OK)
  {
    Error_Handler();
  }
  HAL_TIM_MspPostInit(&htim1);

}

static void MX_TIM16_Init(void)
{

  htim16.Instance = TIM16;
  htim16.Init.Prescaler = 528;
  htim16.Init.CounterMode = TIM_COUNTERMODE_UP;
  htim16.Init.Period = 10000 - 1;
  htim16.Init.ClockDivision = TIM_CLOCKDIVISION_DIV1;
  htim16.Init.RepetitionCounter = 0;
  htim16.Init.AutoReloadPreload = TIM_AUTORELOAD_PRELOAD_DISABLE;
  if (HAL_TIM_Base_Init(&htim16) != HAL_OK)
  {
    Error_Handler();
  }

}

static void MX_USART1_UART_Init(void)
{

  huart1.Instance = USART1;
  huart1.Init.BaudRate = 115200;
  huart1.Init.WordLength = UART_WORDLENGTH_8B;
  huart1.Init.StopBits = UART_STOPBITS_1;
  huart1.Init.Parity = UART_PARITY_NONE;
  huart1.Init.Mode = UART_MODE_TX_RX;
  huart1.Init.HwFlowCtl = UART_HWCONTROL_NONE;
  huart1.Init.OverSampling = UART_OVERSAMPLING_16;
  huart1.Init.OneBitSampling = UART_ONE_BIT_SAMPLE_DISABLE;
  huart1.Init.ClockPrescaler = UART_PRESCALER_DIV1;
  huart1.AdvancedInit.AdvFeatureInit = UART_ADVFEATURE_NO_INIT;
  if (HAL_UART_Init(&huart1) != HAL_OK)
  {
    Error_Handler();
  }
  if (HAL_UARTEx_SetTxFifoThreshold(&huart1, UART_TXFIFO_THRESHOLD_1_8) != HAL_OK)
  {
    Error_Handler();
  }
  if (HAL_UARTEx_SetRxFifoThreshold(&huart1, UART_RXFIFO_THRESHOLD_1_8) != HAL_OK)
  {
    Error_Handler();
  }
  if (HAL_UARTEx_DisableFifoMode(&huart1) != HAL_OK)
  {
    Error_Handler();
  }

}

static void MX_USART2_UART_Init(void)
{

  huart2.Instance = USART2;
  huart2.Init.BaudRate = 115200;
  huart2.Init.WordLength = UART_WORDLENGTH_8B;
  huart2.Init.StopBits = UART_STOPBITS_1;
  huart2.Init.Parity = UART_PARITY_NONE;
  huart2.Init.Mode = UART_MODE_TX_RX;
  huart2.Init.HwFlowCtl = UART_HWCONTROL_NONE;
  huart2.Init.OverSampling = UART_OVERSAMPLING_16;
  huart2.Init.OneBitSampling = UART_ONE_BIT_SAMPLE_DISABLE;
  huart2.Init.ClockPrescaler = UART_PRESCALER_DIV1;
  huart2.AdvancedInit.AdvFeatureInit = UART_ADVFEATURE_NO_INIT;
  if (HAL_UART_Init(&huart2) != HAL_OK)
  {
    Error_Handler();
  }
  if (HAL_UARTEx_SetTxFifoThreshold(&huart2, UART_TXFIFO_THRESHOLD_1_8) != HAL_OK)
  {
    Error_Handler();
  }
  if (HAL_UARTEx_SetRxFifoThreshold(&huart2, UART_RXFIFO_THRESHOLD_1_8) != HAL_OK)
  {
    Error_Handler();
  }
  if (HAL_UARTEx_DisableFifoMode(&huart2) != HAL_OK)
  {
    Error_Handler();
  }

}

static void MX_DMA_Init(void)
{

  /* DMA controller clock enable */
  __HAL_RCC_DMA1_CLK_ENABLE();

  /* DMA interrupt init */
  /* DMA1_Stream0_IRQn interrupt configuration */
  HAL_NVIC_SetPriority(DMA1_Stream0_IRQn, 0, 0);
  HAL_NVIC_EnableIRQ(DMA1_Stream0_IRQn);

}

static void MX_GPIO_Init(void)
{
  GPIO_InitTypeDef GPIO_InitStruct = {0};

  /* GPIO Ports Clock Enable */
  __HAL_RCC_GPIOH_CLK_ENABLE();
  __HAL_RCC_GPIOC_CLK_ENABLE();
  __HAL_RCC_GPIOA_CLK_ENABLE();
  __HAL_RCC_GPIOB_CLK_ENABLE();
  __HAL_RCC_GPIOF_CLK_ENABLE();
  __HAL_RCC_GPIOE_CLK_ENABLE();
  __HAL_RCC_GPIOG_CLK_ENABLE();
  __HAL_RCC_GPIOD_CLK_ENABLE();

  /*Configure GPIO pin Output Level */
  HAL_GPIO_WritePin(GPIOC, START_BUTTON_LED_Pin|RTDS_Pin, GPIO_PIN_RESET);

  /*Configure GPIO pin Output Level */
  HAL_GPIO_WritePin(DS18B20_Data_GPIO_Port, DS18B20_Data_Pin, GPIO_PIN_RESET);

  /*Configure GPIO pins : START_BUTTON_LED_Pin RTDS_Pin */
  GPIO_InitStruct.Pin = START_BUTTON_LED_Pin|RTDS_Pin;
  GPIO_InitStruct.Mode = GPIO_MODE_OUTPUT_PP;
  GPIO_InitStruct.Pull = GPIO_NOPULL;
  GPIO_InitStruct.Speed = GPIO_SPEED_FREQ_LOW;
  HAL_GPIO_Init(GPIOC, &GPIO_InitStruct);

  /*Configure GPIO pin : MICROSD_DET_Pin */
  GPIO_InitStruct.Pin = MICROSD_DET_Pin;
  GPIO_InitStruct.Mode = GPIO_MODE_INPUT;
  GPIO_InitStruct.Pull = GPIO_NOPULL;
  HAL_GPIO_Init(MICROSD_DET_GPIO_Port, &GPIO_InitStruct);

  /*Configure GPIO pin : DS18B20_Data_Pin */
  GPIO_InitStruct.Pin = DS18B20_Data_Pin;
  GPIO_InitStruct.Mode = GPIO_MODE_OUTPUT_PP;
  GPIO_InitStruct.Pull = GPIO_NOPULL;
  GPIO_InitStruct.Speed = GPIO_SPEED_FREQ_LOW;
  HAL_GPIO_Init(DS18B20_Data_GPIO_Port, &GPIO_InitStruct);

  /*Configure GPIO pin : START_BUTTON_Pin */
  GPIO_InitStruct.Pin = START_BUTTON_Pin;
  GPIO_InitStruct.Mode = GPIO_MODE_INPUT;
  GPIO_InitStruct.Pull = GPIO_NOPULL;
  HAL_GPIO_Init(START_BUTTON_GPIO_Port, &GPIO_InitStruct);

  /*Configure GPIO pins : PG9 PG10 */
  GPIO_InitStruct.Pin = GPIO_PIN_9|GPIO_PIN_10;
  GPIO_InitStruct.Mode = GPIO_MODE_AF_PP;
  GPIO_InitStruct.Pull = GPIO_NOPULL;
  GPIO_InitStruct.Speed = GPIO_SPEED_FREQ_LOW;
  GPIO_InitStruct.Alternate = GPIO_AF2_FDCAN3;
  HAL_GPIO_Init(GPIOG, &GPIO_InitStruct);

}

/* USER CODE BEGIN 4 */
void print(char uart_buffer[]) {
	sprintf(uart_msg, "%s \n\r", uart_buffer);
	HAL_UART_Transmit(&huart2, (uint8_t*) uart_msg, strlen(uart_msg),
	HAL_MAX_DELAY);

}

void printValue(int value) {
	sprintf(uart_msg, "%hu \n\r", value);
	HAL_UART_Transmit(&huart2, (uint8_t*) uart_msg, strlen(uart_msg),
	HAL_MAX_DELAY);

}

void printHex(uint8_t value) {
	sprintf(uart_msg, "0x%02X \n\r", value);
	HAL_UART_Transmit(&huart2, (uint8_t*) uart_msg, strlen(uart_msg),
	HAL_MAX_DELAY);
}

void HAL_ADC_ConvCpltCallback(ADC_HandleTypeDef *hadc) {
	s1_aceleracion = buffer_adc[0];
	s2_aceleracion = buffer_adc[1];
	s_freno = buffer_adc[2];
}

void ADC2_Select_FR(void) {
	ADC_ChannelConfTypeDef sConfig = { 0 };
	sConfig.Channel = ADC_CHANNEL_2;
	sConfig.Rank = ADC_REGULAR_RANK_1;
	sConfig.SamplingTime = ADC_SAMPLETIME_2CYCLES_5;
	sConfig.SingleDiff = ADC_SINGLE_ENDED;
	sConfig.OffsetNumber = ADC_OFFSET_NONE;
	sConfig.Offset = 0;
	if (HAL_ADC_ConfigChannel(&hadc2, &sConfig) != HAL_OK) {
		Error_Handler();
	}
}

void ADC2_Select_FL(void) {
	ADC_ChannelConfTypeDef sConfig = { 0 };
	sConfig.Channel = ADC_CHANNEL_6;
	sConfig.Rank = ADC_REGULAR_RANK_1;
	sConfig.SamplingTime = ADC_SAMPLETIME_2CYCLES_5;
	sConfig.SingleDiff = ADC_SINGLE_ENDED;
	sConfig.OffsetNumber = ADC_OFFSET_NONE;
	sConfig.Offset = 0;
	if (HAL_ADC_ConfigChannel(&hadc2, &sConfig) != HAL_OK) {
		Error_Handler();
	}
}

void ADC2_Select_RL(void) {
	ADC_ChannelConfTypeDef sConfig = { 0 };
	sConfig.Channel = ADC_CHANNEL_8;
	sConfig.Rank = ADC_REGULAR_RANK_1;
	sConfig.SamplingTime = ADC_SAMPLETIME_2CYCLES_5;
	sConfig.SingleDiff = ADC_SINGLE_ENDED;
	sConfig.OffsetNumber = ADC_OFFSET_NONE;
	sConfig.Offset = 0;
	if (HAL_ADC_ConfigChannel(&hadc2, &sConfig) != HAL_OK) {
		Error_Handler();
	}
}

void ADC2_Select_RR(void) {
	ADC_ChannelConfTypeDef sConfig = { 0 };
	sConfig.Channel = ADC_CHANNEL_9;
	sConfig.Rank = ADC_REGULAR_RANK_1;
	sConfig.SamplingTime = ADC_SAMPLETIME_2CYCLES_5;
	sConfig.SingleDiff = ADC_SINGLE_ENDED;
	sConfig.OffsetNumber = ADC_OFFSET_NONE;
	sConfig.Offset = 0;
	if (HAL_ADC_ConfigChannel(&hadc2, &sConfig) != HAL_OK) {
		Error_Handler();
	}
}

void HAL_FDCAN_RxFifo0Callback(FDCAN_HandleTypeDef *hfdcan, uint32_t RxFifo0ITs) {
	if ((RxFifo0ITs & FDCAN_IT_RX_FIFO0_NEW_MESSAGE) != RESET) {
		/* Retreive Rx messages from RX FIFO0 */
		if (hfdcan->Instance == FDCAN1) {
			if (HAL_FDCAN_GetRxMessage(&hfdcan1, FDCAN_RX_FIFO0, &RxHeader_Inv,
					RxData_Inv) == HAL_OK) {
				switch (RxHeader_Inv.Identifier) {
				case TX_STATE_3:
					state = RxData_Inv[2] >> 0x1;
					if (state == 10) {
						error = RxData_Inv[0];
					}
					break;

				case TX_STATE_4:
					e_machine_rpm = (RxData_Inv[7] & 0x0F << 16)
							| RxData_Inv[8] << 8 | RxData_Inv[5];
					if (e_machine_rpm & 0x80000) {
						e_machine_rpm |= 0xFFF0000;
					}
					break;

				case TX_STATE_7:
					if (RxHeader_Inv.DataLength == 6) {
						if (config_inv_lectura_v == 0) {
							config_inv_lectura_v = 1;
						} else if (config_inv_lectura_v == 1) {
							inv_dc_bus_voltage = (int) RxData_Inv[1] << 8
									| (int) RxData_Inv[0];
//							byte0_voltage = RxData_Inv[0];
//							byte1_voltage = RxData_Inv[1];
							inv_dc_bus_power = (int) RxData_Inv[2] << 8
									| (int) RxData_Inv[1];
							inv_dc_bus_power = inv_dc_bus_power >> 2;//Bits 10 to 16
							if (inv_dc_bus_power & 0x2000) {//Check for bit signing
								inv_dc_bus_power |= 0xC000;
							}
							inv_dc_bus_power = inv_dc_bus_power * 32767; //Scale factor

						}

					}

					break;

				}

			}

		} else if (hfdcan->Instance == FDCAN2) {
			if (HAL_FDCAN_GetRxMessage(hfdcan, FDCAN_RX_FIFO0, &RxHeader_Acu,
					RxData_Acu) == HAL_OK) {
				switch (RxHeader_Acu.Identifier) {
				case 0x20:  //ID_ack_precarga:
					if (RxData_Acu[0] == 0) {
						precarga_inv = 1;
					}
					break;

				case 0x12C:
					v_celda_min = (int) (RxData_Acu[0] << 8 | RxData_Acu[1]);
					break;

				}
			}

		}

	}
}

/*void HAL_FDCAN_ErrorStatusCallback(FDCAN_HandleTypeDef *hfdcan, uint32_t ErrorStatusITs) {
    if (hfdcan == &hfdcan2) {
        if ((ErrorStatusITs & FDCAN_IT_BUS_OFF) != RESET) {
            CAN_bus_off_check_reset(hfdcan);
        }
    }
}*/

int SMA(uint32_t *lecturas, uint8_t *index, uint32_t lectura) {
	lecturas[*index] = lectura;
	*index = (*index + 1) % N_LECTURAS;
	uint32_t sum = 0;
	for (uint8_t i = 0; i < N_LECTURAS; i++) {
		sum += lecturas[i];
	}
	return sum / N_LECTURAS;
}

uint16_t setTorque() {
	// Leemos sensores de posición del pedal de acelaración

	int s1_aceleracion_filtr = LPF_EMA_Update(&s1_filt, s1_aceleracion);
	int s2_aceleracion_filtr = LPF_EMA_Update(&s2_filt, s2_aceleracion);

#if 0
	print("Sensor 1: ");
	printValue(s1_aceleracion_filtr);
	print("");
	print("Sensor 2: ");
	printValue(s2_aceleracion_filtr);
	print("");
#endif

#if 0
	print("Sensor freno: ");
	printValue(s_freno);
#endif

	// Calculamos % torque  en función de la posición de los sensores
	s1_aceleracion_aux = (s1_aceleracion_filtr - 1886) / (29.4 - 18.86);
	if (s1_aceleracion_aux < 0) {
		s1_aceleracion_aux = 0;
	} else if (s1_aceleracion_aux > 100) {
		s1_aceleracion_aux = 100;
	}

	s2_aceleracion_aux = (s2_aceleracion_filtr - 1780) / (25.27 - 17.8);
	if (s2_aceleracion_aux < 0) {
		s2_aceleracion_aux = 0;
	} else if (s2_aceleracion_aux > 100) {
		s2_aceleracion_aux = 100;
	}

#if CALIBRATION
	print("Sensor % 1: ");
	printValue(s1_aceleracion_aux);
	print("");
	print("Sensor % 2: ");
	printValue(s2_aceleracion_aux);
	print("");
#endif

	// Torque enviado es la media de los dos sensores
	if(s1_aceleracion_aux > 8 && s2_aceleracion_aux > 8){
		torque_total = (s1_aceleracion_aux + s2_aceleracion_aux) / 2;
	}
	else{
		torque_total = 0;
	}

	// Por debajo de un 10% no acelera y por encima de un 90% esta a tope
	if (torque_total < 10) {
		torque_total = 0;
	} else if (torque_total > 90) {
		torque_total = 100;
	}

	// Comprobamos EV 2.3 APPS/Brake Pedal Plausibility Check
	// En caso de que se esté pisando el freno y mas de un 25% del pedal para. Se resetea
	// solo si el acelerador vuelve por debajo del 5%
	if (s_freno > UMBRAL_FRENO_APPS && torque_total > 25) {
		print("EV_2_3");
		flag_EV_2_3 = 1;
	} else if (s_freno < UMBRAL_FRENO_APPS && torque_total < 5) {
		flag_EV_2_3 = 0;
	}
	// If an implausibility occurs between the values of the APPSs and persists for more than
	// 100ms The power to the motor(s) must be immediately shut down completely
	// T11.8.9 Implausibility is defined as a deviation of more than ten percentage points
	// pedal travel between any of the used APPSs
	if (abs(s1_aceleracion_aux - s2_aceleracion_aux) > 10) {

		//if (HAL_GetTick() - last_time_t_11_8 > 100) {
			print("T11.8.9");
			flag_T11_8_9 = 1;
		//}

	} else {
		last_time_t_11_8 = HAL_GetTick();
		flag_T11_8_9 = 0;
	}

	if (flag_EV_2_3 || flag_T11_8_9) {
		//torque_total = 0;
	}

#if 0
	print("Torque total solicitado: ");
	printValue(torque_total);
#endif

	// Limitación del torque en función de la carga
	if (v_celda_min < 3500) {
		if (v_celda_min > 2800) {
			torque_limitado = torque_total * (1.357 * v_celda_min - 3750)
					/ 1000;
		} else {
			torque_limitado = torque_total * 0.05;
		}
	} else {
		torque_limitado = torque_total;
	}

	//Limitacion del torque en funcion de la potencia

#if 0
print("Torque limitado en: ");
printValue(torque_limitado);
#endif

	//torque_total = torque_total * 240 / 100;
	if(torque_total >= 10){
		torque_total = (torque_total*240/90 - 2400/90)*(100/100);
	}

	/*if(torque_total < 0){
		torque_total = 0;
	}*/

	// Invertir todos los bits (complemento a uno)
	uint16_t complement_one = ~torque_total;

	// Sumar 1 para obtener el complemento a dos
	uint16_t torque_real = complement_one + 1;

#if 0
	print("Torque mandado al inversor: ");
	printHex(torque_real);
#endif
	return torque_real;
}

void HAL_TIM_PeriodElapsedCallback(TIM_HandleTypeDef *htim) {
	if (htim == &htim16) {

#if CALIBRATION
		real_torque = setTorque();
		byte_torque_1 = real_torque & 0xFF;
		byte_torque_2 = (real_torque >> 8) & 0xFF;
/*		printHex(byte_torque_1);
		printHex(byte_torque_2);*/
#endif

#if !CALIBRATION

		// ---------- CONTROL DEL INVERSOR ----------

		//Estado TORQUE
if(flag_react == 0){//Si no hay que reactivar el coche manda siempre torque
		if (flag_undervoltage == 0){
			TxHeader_Inv.Identifier = RX_SETPOINT_1;
			TxHeader_Inv.DataLength = 3;
			TxHeader_Inv.IdType = FDCAN_STANDARD_ID;

			TxData_Inv[0] = 0x0;
			TxData_Inv[1] = 0x0;
			TxData_Inv[2] = 0x6;
			HAL_FDCAN_AddMessageToTxFifoQ(&hfdcan1, &TxHeader_Inv, TxData_Inv);
		}
		else{
			if (s_freno > UMBRAL_FRENO){

				if (rtds_count == 0){
					HAL_GPIO_WritePin(RTDS_GPIO_Port, RTDS_Pin, GPIO_PIN_SET);
					rtds_count += 1;
				}

			}
			else{
				if (rtds_count <= 100 && rtds_count != 0){
					rtds_count += 1;
				}
				else if (rtds_count > 100){
					HAL_GPIO_WritePin(RTDS_GPIO_Port, RTDS_Pin, GPIO_PIN_RESET);
					flag_undervoltage = 0;
					rtds_count = 0;
				}

			}
		}

}

		switch (state) {
		case 3:
#if DEBUG
			print("state: standby");
#endif
			//Estado READY inversor
			TxHeader_Inv.Identifier = RX_SETPOINT_1;
			TxHeader_Inv.DataLength = 3;
			TxHeader_Inv.IdType = FDCAN_STANDARD_ID;

			TxData_Inv[0] = 0x0;
			TxData_Inv[1] = 0x0;
			TxData_Inv[2] = 0x4;
			HAL_FDCAN_AddMessageToTxFifoQ(&hfdcan1, &TxHeader_Inv, TxData_Inv);

			//while (state != 4) {

			//}

		case 4:

#if DEBUG
	print("state: ready");
#endif
			TxHeader_Inv.Identifier = 0x362;
			TxHeader_Inv.DataLength = 4;

			real_torque = 0;

			TxData_Inv[0] = 0x0;
			TxData_Inv[1] = 0x0;
			TxData_Inv[2] = real_torque;
			TxData_Inv[3] = 0x0;
			HAL_FDCAN_AddMessageToTxFifoQ(&hfdcan1, &TxHeader_Inv, TxData_Inv);
			flag_react = 0; //Reactivado

			break;
		case 6:
			//print("state: torque");

			//Request TORQUE inversor

			//flag_react = 1;

			real_torque = setTorque();

			TxHeader_Inv.Identifier = 0x362;
			TxHeader_Inv.DataLength = 4;

			//real_torque = 0;
			byte_torque_1 = real_torque & 0xFF;
			byte_torque_2 = (real_torque >> 8) & 0xFF;
			TxData_Inv[0] = 0x00;
			TxData_Inv[1] = 0x00;
			/*if(acelera > 0 && frena == 0){
				acelera++;
				TxData_Inv[2] = 0xFE;
				TxData_Inv[3] = 0xFF;
			}
			if(acelera > 250){
				TxData_Inv[2] = 0xFD;
				TxData_Inv[3] = 0xFF;
			}
			if(acelera > 350){
				TxData_Inv[2] = 0x0;
				TxData_Inv[3] = 0x0;
				frena = 1;
				acelera = 0;
			}
			if(frena > 0 && acelera == 0){
				frena++;
				TxData_Inv[2] = 0x0;
				TxData_Inv[3] = 0x0;
				if(frena > 500){
					acelera = 1;
					frena = 0;
				}
			}*/
			TxData_Inv[2] = byte_torque_1;
			TxData_Inv[3] = byte_torque_2;
			//TxData_Inv[2] = 0xFE;
			//TxData_Inv[3] = 0xFF;
			HAL_FDCAN_AddMessageToTxFifoQ(&hfdcan1, &TxHeader_Inv, TxData_Inv) ;
 			CAN_bus_off_check_reset(&hfdcan1);

			break;

		case 10:
			print("state: soft fault");
			printValue(error);

			//Estado READY inversor
			TxHeader_Inv.Identifier = RX_SETPOINT_1;
			TxHeader_Inv.DataLength = 3;
			TxHeader_Inv.IdType = FDCAN_STANDARD_ID;

			TxData_Inv[0] = 0x0;
			TxData_Inv[1] = 0x0;
			TxData_Inv[2] = 0x3;
			HAL_FDCAN_AddMessageToTxFifoQ(&hfdcan1, &TxHeader_Inv, TxData_Inv);
			flag_react = 1;
			/*switch (error) {
			case 1:
				print("Error: Lost msg");
				break;

			case 2:
				print("Error: Undervoltage");
				break;
			case 3:
				print("Error: Overtemperature");
				break;
			}*/

			if (inv_dc_bus_voltage < 60) {
				flag_undervoltage = 1;
			}
			/*
				//Estado STAND BY inversor
				while (state != 3) {

					flag_react = 1;

					TxHeader_Inv.Identifier = RX_SETPOINT_1;
					TxHeader_Inv.DataLength = 3;
					TxHeader_Inv.IdType = FDCAN_STANDARD_ID;

					TxData_Inv[0] = 0x0;
					TxData_Inv[1] = 0x0;
					TxData_Inv[2] = 0x1;
					HAL_FDCAN_AddMessageToTxFifoQ(&hfdcan1, &TxHeader_Inv,TxData_Inv);
					TxData_Inv[0] = 0x0;
					TxData_Inv[1] = 0x0;
					TxData_Inv[2] = 0x2;
					HAL_FDCAN_AddMessageToTxFifoQ(&hfdcan1, &TxHeader_Inv,TxData_Inv);
					TxData_Inv[0] = 0x0;
					TxData_Inv[1] = 0x0;
					TxData_Inv[2] = 0x3;
					HAL_FDCAN_AddMessageToTxFifoQ(&hfdcan1, &TxHeader_Inv,TxData_Inv);
				}
			}*/

			break;
		}
#endif
	}
}

void SDCard_start(void) {
	FRESULT FR_Status;
	FATFS *FS_Ptr;
	DWORD FreeClusters;
	uint32_t TotalSize, FreeSpace;
	do {
		//------------------[ Mount The SD Card ]--------------------
		FR_Status = f_mount(&FatFs, SDPath, 1);
		if (FR_Status != FR_OK) {
			sprintf(TxBuffer, "Error! Error Code: (%i)\r\n", FR_Status);
			print(TxBuffer);
			break;
		}
		sprintf(TxBuffer, "SD montada correctamente \r\n\n");
		print(TxBuffer);
		//------------------[ Get & Print The SD Card Size & Free Space ]--------------------
		f_getfree("", &FreeClusters, &FS_Ptr);
		TotalSize = (uint32_t) ((FS_Ptr->n_fatent - 2) * FS_Ptr->csize * 0.5);
		FreeSpace = (uint32_t) (FreeClusters * FS_Ptr->csize * 0.5);
		sprintf(TxBuffer, "Espacio total: %lu Bytes\r\n", TotalSize);
		print(TxBuffer);
		sprintf(TxBuffer, "Espacio libre: %lu Bytes\r\n\n", FreeSpace);
		print(TxBuffer);
	} while (0);

}

void CAN_bus_off_check_reset(FDCAN_HandleTypeDef *hfdcan){
	FDCAN_ProtocolStatusTypeDef protocolStatus;
	HAL_FDCAN_GetProtocolStatus(hfdcan, &protocolStatus);
	if(protocolStatus.BusOff){
		CLEAR_BIT(hfdcan->Instance->CCCR, FDCAN_CCCR_INIT);
	}
}

void logBufferToSD(void) {
	if (writeBuffer == NULL)
		return;  // No buffer is ready for writing

	FIL file;
	FRESULT res;
	UINT bytesWritten;

	// Open the log file in append mode. If it doesn't exist, create it.
	res = f_open(&file, "log.txt", FA_OPEN_APPEND | FA_WRITE);
	if (res != FR_OK) {
		// Handle error: File not opened
		Error_Handler();
		return;
	}

	// Write the buffer to the file
	res = f_write(&file, writeBuffer, LOG_BUFFER_SIZE, &bytesWritten);
	if (res != FR_OK || bytesWritten < LOG_BUFFER_SIZE) {
		// Handle error: Write failed or not all bytes were written
		Error_Handler();
		f_close(&file);  // Ensure the file is closed
		return;
	}

	// Close the log file
	res = f_close(&file);
	if (res != FR_OK) {
		// Handle error: File not closed properly
		Error_Handler();
	}

	// Mark buffer as available
	bufferReady = 0;
	writeBuffer = NULL;
}

void addDataToLogBuffer(char *data, uint16_t length) {
	// Check if there is enough space in the current buffer
	if ((bufferIndex + length) >= LOG_BUFFER_SIZE) {
		// If not, mark the current buffer as ready for writing
		writeBuffer = activeBuffer;

		// Switch active buffer
		if (activeBuffer == logBuffer1) {
			activeBuffer = logBuffer2;
		} else {
			activeBuffer = logBuffer1;
		}

		// Reset the index for the new active buffer
		bufferIndex = 0;
		bufferReady = 1;
	}

	// Add new data to the active buffer
	memcpy(&activeBuffer[bufferIndex], data, length);
	bufferIndex += length;
}

void processLogging(void) {
	// Call this function regularly, e.g., in the main loop or a timer interrupt
	if (bufferReady) {
		logBufferToSD();  // Write the data to the SD card
	}
}

void SDCard_write(char *filename, char *data) {
	FIL file;            // File object
	FRESULT fr;          // FATFS function common result code
	UINT bw;             // Bytes written

	//------------------[ Open or Create a File ]--------------------
	fr = f_open(&file, filename, FA_WRITE | FA_CREATE_ALWAYS);
	if (fr != FR_OK) {
		sprintf(TxBuffer,
				"Error opening/creating file: %s. Error Code: (%i)\r\n",
				filename, fr);
		print(TxBuffer);
		return;
	}

	//------------------[ Write Data to the File ]--------------------
	fr = f_write(&file, data, strlen(data), &bw);
	if (fr != FR_OK || bw < strlen(data)) {
		sprintf(TxBuffer, "Error writing to file: %s. Error Code: (%i)\r\n",
				filename, fr);
		print(TxBuffer);
		f_close(&file);
		return;
	}

	//------------------[ Close the File ]--------------------
	fr = f_close(&file);
	if (fr != FR_OK) {
		sprintf(TxBuffer, "Error closing file: %s. Error Code: (%i)\r\n",
				filename, fr);
		print(TxBuffer);
		return;
	}

	//------------------[ Success Message ]--------------------
	sprintf(TxBuffer, "Data written successfully to file: %s\r\n", filename);
	print(TxBuffer);
}
/* USER CODE END 4 */

void Error_Handler(void)
{
	__disable_irq();
	while (1) {
	}
}
